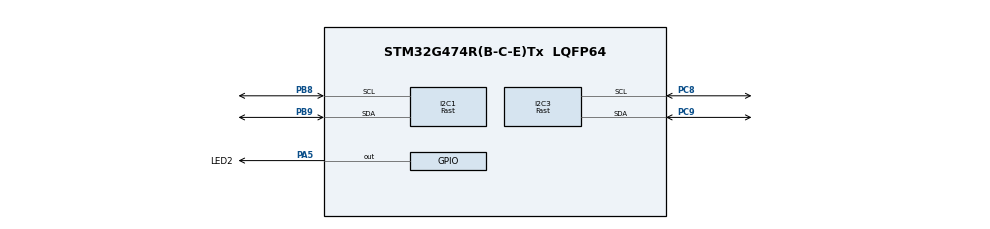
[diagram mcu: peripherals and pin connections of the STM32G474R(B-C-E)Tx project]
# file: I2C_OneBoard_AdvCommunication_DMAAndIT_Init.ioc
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Dma.I2C3_RX.1.Direction=DMA_PERIPH_TO_MEMORY
Dma.I2C3_RX.1.EventEnable=DISABLE
Dma.I2C3_RX.1.Instance=DMA1_Channel3
Dma.I2C3_RX.1.MemDataAlignment=DMA_MDATAALIGN_BYTE
Dma.I2C3_RX.1.MemInc=DMA_MINC_ENABLE
Dma.I2C3_RX.1.Mode=DMA_NORMAL
Dma.I2C3_RX.1.PeriphDataAlignment=DMA_PDATAALIGN_BYTE
Dma.I2C3_RX.1.PeriphInc=DMA_PINC_DISABLE
Dma.I2C3_RX.1.Polarity=HAL_DMAMUX_REQ_GEN_RISING
Dma.I2C3_RX.1.Priority=DMA_PRIORITY_HIGH
Dma.I2C3_RX.1.RequestNumber=1
Dma.I2C3_RX.1.SignalID=HAL_DMAMUX1_REQ_GEN_EXTI4
Dma.I2C3_RX.1.SyncEnable=DISABLE
Dma.I2C3_RX.1.SyncPolarity=HAL_DMAMUX_SYNC_NO_EVENT
Dma.I2C3_RX.1.SyncRequestNumber=1
Dma.I2C3_RX.1.SyncSignalID=HAL_DMAMUX1_SYNC_EXTI4
Dma.I2C3_TX.0.Direction=DMA_MEMORY_TO_PERIPH
Dma.I2C3_TX.0.EventEnable=DISABLE
Dma.I2C3_TX.0.Instance=DMA1_Channel2
Dma.I2C3_TX.0.MemDataAlignment=DMA_MDATAALIGN_BYTE
Dma.I2C3_TX.0.MemInc=DMA_MINC_ENABLE
Dma.I2C3_TX.0.Mode=DMA_NORMAL
Dma.I2C3_TX.0.PeriphDataAlignment=DMA_PDATAALIGN_BYTE
Dma.I2C3_TX.0.PeriphInc=DMA_PINC_DISABLE
Dma.I2C3_TX.0.Polarity=HAL_DMAMUX_REQ_GEN_RISING
Dma.I2C3_TX.0.Priority=DMA_PRIORITY_HIGH
Dma.I2C3_TX.0.RequestNumber=1
Dma.I2C3_TX.0.SignalID=HAL_DMAMUX1_REQ_GEN_EXTI4
Dma.I2C3_TX.0.SyncEnable=DISABLE
Dma.I2C3_TX.0.SyncPolarity=HAL_DMAMUX_SYNC_NO_EVENT
Dma.I2C3_TX.0.SyncRequestNumber=1
Dma.I2C3_TX.0.SyncSignalID=HAL_DMAMUX1_SYNC_EXTI4
Dma.Request0=I2C3_TX
Dma.Request1=I2C3_RX
I2C1.AddressingMode=I2C_ADDRESSINGMODE_7BIT
I2C1.Analog_Filter=I2C_ANALOGFILTER_ENABLE
I2C1.CustomTiming=Enabled
I2C1.DualAddressMode=I2C_DUALADDRESS_DISABLE
I2C1.GeneralCallMode=I2C_GENERALCALL_DISABLE
I2C1.I2C_Speed_Mode=I2C_Fast
I2C1.NoStretchMode=I2C_NOSTRETCH_DISABLE
I2C1.OwnAddress=0x5a
I2C1.Speed=400
I2C1.Timing=0x00000102
I2C3.AddressingMode=I2C_ADDRESSINGMODE_7BIT
I2C3.Analog_Filter=I2C_ANALOGFILTER_ENABLE
I2C3.CustomTiming=Enabled
I2C3.DualAddressMode=I2C_DUALADDRESS_DISABLE
I2C3.GeneralCallMode=I2C_GENERALCALL_DISABLE
I2C3.I2C_Speed_Mode=I2C_Fast
I2C3.NoStretchMode=I2C_NOSTRETCH_DISABLE
I2C3.OwnAddress=0
I2C3.Speed=400
I2C3.Timing=0x00000102
Mcu.Family=STM32G4
Mcu.Name=STM32G474R(B-C-E)Tx
Mcu.Package=LQFP64
NVIC.DMA1_Channel2_IRQn=true\:0\:0\:false\:false\:true\:false\:true\:true
NVIC.DMA1_Channel3_IRQn=true\:0\:0\:false\:false\:true\:false\:true\:true
NVIC.PriorityGroup=NVIC_PRIORITYGROUP_4
PA5.GPIO_Label=LED2
PA5.Signal=GPIO_Output
PB8-BOOT0.GPIO_FM8=SYSCFG_FASTMODEPLUS_PB8
PB8-BOOT0.GPIO_Pu=GPIO_PULLUP
PB8-BOOT0.GPIO_Speed=GPIO_SPEED_FREQ_HIGH
PB8-BOOT0.Mode=I2C
PB8-BOOT0.Signal=I2C1_SCL
PB9.GPIO_FM9=SYSCFG_FASTMODEPLUS_PB9
PB9.GPIO_Pu=GPIO_PULLUP
PB9.GPIO_Speed=GPIO_SPEED_FREQ_HIGH
PB9.Mode=I2C
PB9.Signal=I2C1_SDA
PC8.GPIO_Pu=GPIO_PULLUP
PC8.GPIO_Speed=GPIO_SPEED_FREQ_HIGH
PC8.Mode=I2C
PC8.Signal=I2C3_SCL
PC9.GPIO_Pu=GPIO_PULLUP
PC9.GPIO_Speed=GPIO_SPEED_FREQ_HIGH
PC9.Mode=I2C
PC9.Signal=I2C3_SDA
ProjectManager.HeapSize=0x200
ProjectManager.StackSize=0x400
ProjectManager.TargetToolchain=EWARM V8.32
RCC.ADC12Freq_Value=170000000
RCC.ADC345Freq_Value=170000000
RCC.AHBFreq_Value=170000000
RCC.APB1Freq_Value=170000000
RCC.APB1TimFreq_Value=170000000
RCC.APB2Freq_Value=170000000
RCC.APB2TimFreq_Value=170000000
RCC.CortexFreq_Value=170000000
RCC.EXTERNAL_CLOCK_VALUE=12288000
RCC.HCLKFreq_Value=170000000
RCC.HSE_VALUE=24000000
RCC.HSI48_VALUE=48000000
RCC.HSI_VALUE=16000000
RCC.LSE_VALUE=32768
RCC.PLLM=RCC_PLLM_DIV4
RCC.PLLN=85
RCC.SYSCLKFreq_VALUE=170000000
RCC.SYSCLKSource=RCC_SYSCLKSOURCE_PLLCLK
RCC.USBFreq_Value=170000000
RCC.VCOOutputFreq_Value=340000000
VP_SYS_VS_DBSignals.Mode=DisableDeadBatterySignals
board=custom

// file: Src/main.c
/* USER CODE BEGIN Header */
/**
  ******************************************************************************
  * @file    Examples_LL/I2C/I2C_OneBoard_AdvCommunication_DMAAndIT_Init/Src/main.c
  * @author  MCD Application Team
  * @brief   This example describes how to send/receive bytes over I2C IP using
  *          the STM32G4xx I2C LL API.
  *          Peripheral initialization done using LL unitary services functions.
  ******************************************************************************
  * @attention
  *
  * Copyright (c) 2019 STMicroelectronics.
  * All rights reserved.
  *
  * This software is licensed under terms that can be found in the LICENSE file
  * in the root directory of this software component.
  * If no LICENSE file comes with this software, it is provided AS-IS.
  *
  ******************************************************************************
  */
/* USER CODE END Header */
#include "main.h"

/* USER CODE BEGIN PD */
/**
  * @brief Timeout value
  */
#if (USE_TIMEOUT == 1)
#define DMA_SEND_TIMEOUT_TC_MS          5
#define I2C_SEND_TIMEOUT_TC_MS          2
#define I2C_SEND_TIMEOUT_STOP_MS        5
#endif /* USE_TIMEOUT */

/**
  * @brief I2C devices settings
  */
/* Timing register value is computed with the STM32CubeMX Tool,
  * Fast Mode @400kHz with I2CCLK = 170 MHz,
  * rise time = 100ns, fall time = 10ns
  * Timing Value = (uint32_t)0x00C0216C
  */
#define I2C_TIMING                      0x00C0216C

#define SLAVE_CHIP_NAME                 0
#define SLAVE_CHIP_REVISION             1

/* USER CODE END PD */

/* USER CODE BEGIN PV */
#if (USE_TIMEOUT == 1)
uint32_t Timeout                        = 0; /* Variable used for Timeout management */
#endif /* USE_TIMEOUT */
__IO uint8_t  ubButtonPress             = 0;

/**
  * @brief Variables related to Master process
  */
/* aCommandCode declaration array    */
/* [CommandCode][RequestSlaveAnswer] */
/* {CODE, YES/NO}                    */
const char  *aCommandCode[4][4]         =
{
  {"CHIP NAME", "YES"},
  {"CHIP REVISION", "YES"},
  {"LOW POWER", "NO"},
  {"WAKE UP", "NO"}
};

uint32_t     *pMasterTransmitBuffer     = (uint32_t *)(&aCommandCode[0][0]);
uint8_t       ubMasterNbCommandCode     = sizeof(aCommandCode[0][0]);
uint8_t       aMasterReceiveBuffer[0xF] = {0};
__IO uint8_t  ubMasterNbDataToReceive   = sizeof(aMasterReceiveBuffer);
__IO uint8_t  ubMasterNbDataToTransmit  = 0;
uint8_t       ubMasterCommandIndex      = 0;
__IO uint8_t  ubMasterReceiveIndex      = 0;
__IO uint8_t  ubMasterTransferComplete  = 0;

/**
  * @brief Variables related to Slave process
  */
const char   *aSlaveInfo[]              =
{
  "STM32G474RET6",
  "1.2.3"
};

uint8_t       aSlaveReceiveBuffer[0xF]  = {0};
uint8_t      *pSlaveTransmitBuffer      = 0;
uint8_t       ubSlaveInfoIndex          = 0xFF;
__IO uint8_t  ubSlaveReceiveIndex       = 0;
__IO uint8_t  ubSlaveReceiveComplete    = 0;

/* USER CODE END PV */

void SystemClock_Config(void);
static void MX_GPIO_Init(void);
static void MX_DMA_Init(void);
static void MX_I2C1_Init(void);
static void MX_I2C3_Init(void);
/* USER CODE BEGIN PFP */
uint8_t  Buffercmp8(uint8_t *pBuffer1, uint8_t *pBuffer2, uint8_t BufferLength);
void     FlushBuffer8(uint8_t *pBuffer1);
void     LED_On(void);
void     LED_Off(void);
void     LED_Blinking(uint32_t Period);
void     UserButton_Init(void);
void     WaitForUserButtonPress(void);
void     Handle_I2C_Master_Transmit(void);
void     Handle_I2C_Master_TransmitReceive(void);
#if defined(__GNUC__)
extern void initialise_monitor_handles(void); /*rtt*/
#endif

/* USER CODE END PFP */

int main(void)
{

  /* MCU Configuration--------------------------------------------------------*/

  /* Reset of all peripherals, Initializes the Flash interface and the Systick. */
  LL_APB2_GRP1_EnableClock(LL_APB2_GRP1_PERIPH_SYSCFG);
  LL_APB1_GRP1_EnableClock(LL_APB1_GRP1_PERIPH_PWR);

  /* System interrupt init*/
  NVIC_SetPriorityGrouping(NVIC_PRIORITYGROUP_4);

  /** Disable the internal Pull-Up in Dead Battery pins of UCPD peripheral
  */
  LL_PWR_DisableUCPDDeadBattery();

  /* Configure the system clock */
  SystemClock_Config();

  /* Initialize all configured peripherals */
  MX_GPIO_Init();
  MX_DMA_Init();
  MX_I2C1_Init();
  MX_I2C3_Init();
  /* USER CODE BEGIN 2 */
#if defined(__GNUC__)
  initialise_monitor_handles(); /*rtt*/
#endif
  UserButton_Init();
  /* Set LED2 Off */
  LED_Off();

  /* USER CODE END 2 */

  /* Infinite loop */
  while (1)
  {

    /* USER CODE BEGIN 3 */

    /* Wait for User push-button press to start transfer */
    WaitForUserButtonPress();

    /* Clear User push-button related variable */
    ubButtonPress = 0;

    if (strncmp(aCommandCode[ubMasterCommandIndex][1], "NO", 2) == 0)
    {
      /* Handle I2C3 events (Master Transmit only) */
      Handle_I2C_Master_Transmit();
    }
    else
    {
      /* Handle I2C3 events (Master Transmit then Receive) */
      Handle_I2C_Master_TransmitReceive();
    }

    /* Prepare Index to send next command code */
    ubMasterCommandIndex++;
    if (ubMasterCommandIndex >= ubMasterNbCommandCode)
    {
      ubMasterCommandIndex = 0;
    }
  }
  /* USER CODE END 3 */
}

void SystemClock_Config(void)
{
  LL_FLASH_SetLatency(LL_FLASH_LATENCY_4);
  while(LL_FLASH_GetLatency() != LL_FLASH_LATENCY_4)
  {
  }
  LL_PWR_EnableRange1BoostMode();
  LL_RCC_HSI_Enable();
   /* Wait till HSI is ready */
  while(LL_RCC_HSI_IsReady() != 1)
  {
  }

  LL_RCC_HSI_SetCalibTrimming(64);
  LL_RCC_PLL_ConfigDomain_SYS(LL_RCC_PLLSOURCE_HSI, LL_RCC_PLLM_DIV_4, 85, LL_RCC_PLLR_DIV_2);
  LL_RCC_PLL_EnableDomain_SYS();
  LL_RCC_PLL_Enable();
   /* Wait till PLL is ready */
  while(LL_RCC_PLL_IsReady() != 1)
  {
  }

  LL_RCC_SetSysClkSource(LL_RCC_SYS_CLKSOURCE_PLL);
  LL_RCC_SetAHBPrescaler(LL_RCC_SYSCLK_DIV_2);
   /* Wait till System clock is ready */
  while(LL_RCC_GetSysClkSource() != LL_RCC_SYS_CLKSOURCE_STATUS_PLL)
  {
  }

  /* Insure 1us transition state at intermediate medium speed clock*/
  for (__IO uint32_t i = (170 >> 1); i !=0; i--);

  /* Set AHB prescaler*/
  LL_RCC_SetAHBPrescaler(LL_RCC_SYSCLK_DIV_1);
  LL_RCC_SetAPB1Prescaler(LL_RCC_APB1_DIV_1);
  LL_RCC_SetAPB2Prescaler(LL_RCC_APB2_DIV_1);

  LL_Init1msTick(170000000);

  LL_SetSystemCoreClock(170000000);
}

static void MX_I2C1_Init(void)
{

  LL_I2C_InitTypeDef I2C_InitStruct = {0};

  LL_GPIO_InitTypeDef GPIO_InitStruct = {0};

  LL_RCC_SetI2CClockSource(LL_RCC_I2C1_CLKSOURCE_PCLK1);

  LL_AHB2_GRP1_EnableClock(LL_AHB2_GRP1_PERIPH_GPIOB);
  /**I2C1 GPIO Configuration
  PB8-BOOT0   ------> I2C1_SCL
  PB9   ------> I2C1_SDA
  */
  GPIO_InitStruct.Pin = LL_GPIO_PIN_8;
  GPIO_InitStruct.Mode = LL_GPIO_MODE_ALTERNATE;
  GPIO_InitStruct.Speed = LL_GPIO_SPEED_FREQ_HIGH;
  GPIO_InitStruct.OutputType = LL_GPIO_OUTPUT_OPENDRAIN;
  GPIO_InitStruct.Pull = LL_GPIO_PULL_UP;
  GPIO_InitStruct.Alternate = LL_GPIO_AF_4;
  LL_GPIO_Init(GPIOB, &GPIO_InitStruct);

  GPIO_InitStruct.Pin = LL_GPIO_PIN_9;
  GPIO_InitStruct.Mode = LL_GPIO_MODE_ALTERNATE;
  GPIO_InitStruct.Speed = LL_GPIO_SPEED_FREQ_HIGH;
  GPIO_InitStruct.OutputType = LL_GPIO_OUTPUT_OPENDRAIN;
  GPIO_InitStruct.Pull = LL_GPIO_PULL_UP;
  GPIO_InitStruct.Alternate = LL_GPIO_AF_4;
  LL_GPIO_Init(GPIOB, &GPIO_InitStruct);

  LL_SYSCFG_EnableFastModePlus(LL_SYSCFG_I2C_FASTMODEPLUS_PB8);

  LL_SYSCFG_EnableFastModePlus(LL_SYSCFG_I2C_FASTMODEPLUS_PB9);

  /* Peripheral clock enable */
  LL_APB1_GRP1_EnableClock(LL_APB1_GRP1_PERIPH_I2C1);

  /* USER CODE BEGIN I2C1_Init 1 */
  /* Configure Event IT:
   *  - Set priority for I2C1_EV_IRQn
   *  - Enable I2C1_EV_IRQn
   */
  NVIC_SetPriority(I2C1_EV_IRQn, 0xF);
  NVIC_EnableIRQ(I2C1_EV_IRQn);

  /* Configure Error IT:
   *  - Set priority for I2C1_ER_IRQn
   *  - Enable I2C1_ER_IRQn
   */
  NVIC_SetPriority(I2C1_ER_IRQn, 0xF);
  NVIC_EnableIRQ(I2C1_ER_IRQn);
  /* USER CODE END I2C1_Init 1 */

  /** I2C Initialization
  */
  I2C_InitStruct.PeripheralMode = LL_I2C_MODE_I2C;
  I2C_InitStruct.Timing = 0x00000102;
  I2C_InitStruct.AnalogFilter = LL_I2C_ANALOGFILTER_ENABLE;
  I2C_InitStruct.DigitalFilter = 0;
  I2C_InitStruct.OwnAddress1 = 180;
  I2C_InitStruct.TypeAcknowledge = LL_I2C_ACK;
  I2C_InitStruct.OwnAddrSize = LL_I2C_OWNADDRESS1_7BIT;
  LL_I2C_Init(I2C1, &I2C_InitStruct);
  LL_I2C_EnableAutoEndMode(I2C1);
  LL_I2C_SetOwnAddress2(I2C1, 0, LL_I2C_OWNADDRESS2_NOMASK);
  LL_I2C_DisableOwnAddress2(I2C1);
  LL_I2C_DisableGeneralCall(I2C1);
  LL_I2C_EnableClockStretching(I2C1);
  /* USER CODE BEGIN I2C1_Init 2 */
  LL_I2C_EnableIT_ADDR(I2C1);
  LL_I2C_EnableIT_NACK(I2C1);
  LL_I2C_EnableIT_ERR(I2C1);
  LL_I2C_EnableIT_STOP(I2C1);
  /* USER CODE END I2C1_Init 2 */

}

static void MX_I2C3_Init(void)
{

  LL_I2C_InitTypeDef I2C_InitStruct = {0};

  LL_GPIO_InitTypeDef GPIO_InitStruct = {0};

  LL_RCC_SetI2CClockSource(LL_RCC_I2C3_CLKSOURCE_PCLK1);

  LL_AHB2_GRP1_EnableClock(LL_AHB2_GRP1_PERIPH_GPIOC);
  /**I2C3 GPIO Configuration
  PC8   ------> I2C3_SCL
  PC9   ------> I2C3_SDA
  */
  GPIO_InitStruct.Pin = LL_GPIO_PIN_8;
  GPIO_InitStruct.Mode = LL_GPIO_MODE_ALTERNATE;
  GPIO_InitStruct.Speed = LL_GPIO_SPEED_FREQ_HIGH;
  GPIO_InitStruct.OutputType = LL_GPIO_OUTPUT_OPENDRAIN;
  GPIO_InitStruct.Pull = LL_GPIO_PULL_UP;
  GPIO_InitStruct.Alternate = LL_GPIO_AF_8;
  LL_GPIO_Init(GPIOC, &GPIO_InitStruct);

  GPIO_InitStruct.Pin = LL_GPIO_PIN_9;
  GPIO_InitStruct.Mode = LL_GPIO_MODE_ALTERNATE;
  GPIO_InitStruct.Speed = LL_GPIO_SPEED_FREQ_HIGH;
  GPIO_InitStruct.OutputType = LL_GPIO_OUTPUT_OPENDRAIN;
  GPIO_InitStruct.Pull = LL_GPIO_PULL_UP;
  GPIO_InitStruct.Alternate = LL_GPIO_AF_8;
  LL_GPIO_Init(GPIOC, &GPIO_InitStruct);

  /* Peripheral clock enable */
  LL_APB1_GRP1_EnableClock(LL_APB1_GRP1_PERIPH_I2C3);

  /* I2C3 DMA Init */

  /* I2C3_TX Init */
  LL_DMA_SetPeriphRequest(DMA1, LL_DMA_CHANNEL_2, LL_DMAMUX_REQ_I2C3_TX);

  LL_DMA_SetDataTransferDirection(DMA1, LL_DMA_CHANNEL_2, LL_DMA_DIRECTION_MEMORY_TO_PERIPH);

  LL_DMA_SetChannelPriorityLevel(DMA1, LL_DMA_CHANNEL_2, LL_DMA_PRIORITY_HIGH);

  LL_DMA_SetMode(DMA1, LL_DMA_CHANNEL_2, LL_DMA_MODE_NORMAL);

  LL_DMA_SetPeriphIncMode(DMA1, LL_DMA_CHANNEL_2, LL_DMA_PERIPH_NOINCREMENT);

  LL_DMA_SetMemoryIncMode(DMA1, LL_DMA_CHANNEL_2, LL_DMA_MEMORY_INCREMENT);

  LL_DMA_SetPeriphSize(DMA1, LL_DMA_CHANNEL_2, LL_DMA_PDATAALIGN_BYTE);

  LL_DMA_SetMemorySize(DMA1, LL_DMA_CHANNEL_2, LL_DMA_MDATAALIGN_BYTE);

  /* I2C3_RX Init */
  LL_DMA_SetPeriphRequest(DMA1, LL_DMA_CHANNEL_3, LL_DMAMUX_REQ_I2C3_RX);

  LL_DMA_SetDataTransferDirection(DMA1, LL_DMA_CHANNEL_3, LL_DMA_DIRECTION_PERIPH_TO_MEMORY);

  LL_DMA_SetChannelPriorityLevel(DMA1, LL_DMA_CHANNEL_3, LL_DMA_PRIORITY_HIGH);

  LL_DMA_SetMode(DMA1, LL_DMA_CHANNEL_3, LL_DMA_MODE_NORMAL);

  LL_DMA_SetPeriphIncMode(DMA1, LL_DMA_CHANNEL_3, LL_DMA_PERIPH_NOINCREMENT);

  LL_DMA_SetMemoryIncMode(DMA1, LL_DMA_CHANNEL_3, LL_DMA_MEMORY_INCREMENT);

  LL_DMA_SetPeriphSize(DMA1, LL_DMA_CHANNEL_3, LL_DMA_PDATAALIGN_BYTE);

  LL_DMA_SetMemorySize(DMA1, LL_DMA_CHANNEL_3, LL_DMA_MDATAALIGN_BYTE);

  /* USER CODE BEGIN I2C3_Init 1 */
  LL_DMA_ConfigAddresses(DMA1, LL_DMA_CHANNEL_2, (uint32_t)(*pMasterTransmitBuffer), (uint32_t)LL_I2C_DMA_GetRegAddr(I2C3, LL_I2C_DMA_REG_DATA_TRANSMIT), LL_DMA_GetDataTransferDirection(DMA1, LL_DMA_CHANNEL_2));
  LL_DMA_ConfigAddresses(DMA1, LL_DMA_CHANNEL_3, (uint32_t)LL_I2C_DMA_GetRegAddr(I2C3, LL_I2C_DMA_REG_DATA_RECEIVE), (uint32_t) & (aMasterReceiveBuffer), LL_DMA_GetDataTransferDirection(DMA1, LL_DMA_CHANNEL_3));
  LL_DMA_EnableIT_TC(DMA1, LL_DMA_CHANNEL_2);
  LL_DMA_EnableIT_TE(DMA1, LL_DMA_CHANNEL_2);
  LL_DMA_EnableIT_TC(DMA1, LL_DMA_CHANNEL_3);
  LL_DMA_EnableIT_TE(DMA1, LL_DMA_CHANNEL_3);

  /* USER CODE END I2C3_Init 1 */

  /** I2C Initialization
  */
  I2C_InitStruct.PeripheralMode = LL_I2C_MODE_I2C;
  I2C_InitStruct.Timing = 0x00000102;
  I2C_InitStruct.AnalogFilter = LL_I2C_ANALOGFILTER_ENABLE;
  I2C_InitStruct.DigitalFilter = 0;
  I2C_InitStruct.OwnAddress1 = 0;
  I2C_InitStruct.TypeAcknowledge = LL_I2C_ACK;
  I2C_InitStruct.OwnAddrSize = LL_I2C_OWNADDRESS1_7BIT;
  LL_I2C_Init(I2C3, &I2C_InitStruct);
  LL_I2C_EnableAutoEndMode(I2C3);
  LL_I2C_SetOwnAddress2(I2C3, 0, LL_I2C_OWNADDRESS2_NOMASK);
  LL_I2C_DisableOwnAddress2(I2C3);
  LL_I2C_DisableGeneralCall(I2C3);
  LL_I2C_EnableClockStretching(I2C3);
  /* USER CODE BEGIN I2C3_Init 2 */
  LL_I2C_EnableDMAReq_RX(I2C3);
  LL_I2C_EnableDMAReq_TX(I2C3);
  LL_I2C_Enable(I2C3);
  /* USER CODE END I2C3_Init 2 */

}

static void MX_DMA_Init(void)
{

  /* Init with LL driver */
  /* DMA controller clock enable */
  LL_AHB1_GRP1_EnableClock(LL_AHB1_GRP1_PERIPH_DMAMUX1);
  LL_AHB1_GRP1_EnableClock(LL_AHB1_GRP1_PERIPH_DMA1);

  /* DMA interrupt init */
  /* DMA1_Channel2_IRQn interrupt configuration */
  NVIC_SetPriority(DMA1_Channel2_IRQn, NVIC_EncodePriority(NVIC_GetPriorityGrouping(),0, 0));
  NVIC_EnableIRQ(DMA1_Channel2_IRQn);
  /* DMA1_Channel3_IRQn interrupt configuration */
  NVIC_SetPriority(DMA1_Channel3_IRQn, NVIC_EncodePriority(NVIC_GetPriorityGrouping(),0, 0));
  NVIC_EnableIRQ(DMA1_Channel3_IRQn);

}

static void MX_GPIO_Init(void)
{
  LL_GPIO_InitTypeDef GPIO_InitStruct = {0};

  /* GPIO Ports Clock Enable */
  LL_AHB2_GRP1_EnableClock(LL_AHB2_GRP1_PERIPH_GPIOA);
  LL_AHB2_GRP1_EnableClock(LL_AHB2_GRP1_PERIPH_GPIOC);
  LL_AHB2_GRP1_EnableClock(LL_AHB2_GRP1_PERIPH_GPIOB);

  /**/
  LL_GPIO_ResetOutputPin(LED2_GPIO_Port, LED2_Pin);

  /**/
  GPIO_InitStruct.Pin = LED2_Pin;
  GPIO_InitStruct.Mode = LL_GPIO_MODE_OUTPUT;
  GPIO_InitStruct.Speed = LL_GPIO_SPEED_FREQ_LOW;
  GPIO_InitStruct.OutputType = LL_GPIO_OUTPUT_PUSHPULL;
  GPIO_InitStruct.Pull = LL_GPIO_PULL_NO;
  LL_GPIO_Init(LED2_GPIO_Port, &GPIO_InitStruct);

}

/* USER CODE BEGIN 4 */

/**
  * @brief  Flush 8-bit buffer.
  * @param  pBuffer1: pointer to the buffer to be flushed.
  * @retval None
  */
void FlushBuffer8(uint8_t *pBuffer1)
{
  uint8_t Index = 0;

  for (Index = 0; Index < sizeof(pBuffer1); Index++)
  {
    pBuffer1[Index] = 0;
  }
}

/**
  * @brief  Compares two 8-bit buffers and returns the comparison result.
  * @param  pBuffer1: pointer to the source buffer to be compared to.
  * @param  pBuffer2: pointer to the second source buffer to be compared to the first.
  * @param  BufferLength: buffer's length.
  * @retval 0: Comparison is OK (the two Buffers are identical)
  *         Value different from 0: Comparison is NOK (Buffers are different)
  */
uint8_t Buffercmp8(uint8_t *pBuffer1, uint8_t *pBuffer2, uint8_t BufferLength)
{
  while (BufferLength--)
  {
    if (*pBuffer1 != *pBuffer2)
    {
      return 1;
    }

    pBuffer1++;
    pBuffer2++;
  }

  return 0;
}
/**
  * @brief  Turn-on LED2.
  * @param  None
  * @retval None
  */
void LED_On(void)
{
  /* Turn LED2 on */
  LL_GPIO_SetOutputPin(LED2_GPIO_Port, LED2_Pin);
}

/**
  * @brief  Turn-off LED2.
  * @param  None
  * @retval None
  */
void LED_Off(void)
{
  /* Turn LED2 off */
  LL_GPIO_ResetOutputPin(LED2_GPIO_Port, LED2_Pin);
}

/**
  * @brief  Set LED2 to Blinking mode for an infinite loop (toggle period based on value provided as input parameter).
  * @param  Period : Period of time (in ms) between each toggling of LED
  *   This parameter can be user defined values. Pre-defined values used in that example are :
  *     @arg LED_BLINK_FAST : Fast Blinking
  *     @arg LED_BLINK_SLOW : Slow Blinking
  *     @arg LED_BLINK_ERROR : Error specific Blinking
  * @retval None
  */
void LED_Blinking(uint32_t Period)
{
  /* Turn LED2 on */
  LL_GPIO_SetOutputPin(LED2_GPIO_Port, LED2_Pin);

  /* Toggle IO in an infinite loop */
  while (1)
  {
    LL_GPIO_TogglePin(LED2_GPIO_Port, LED2_Pin);
    LL_mDelay(Period);
  }
}

/**
  * @brief  Configures User push-button in GPIO or EXTI Line Mode.
  * @param  None
  * @retval None
  */
void UserButton_Init(void)
{
  /* Enable the BUTTON Clock */
  USER_BUTTON_GPIO_CLK_ENABLE();

  /* Configure GPIO for BUTTON */
  LL_GPIO_SetPinMode(USER_BUTTON_GPIO_PORT, USER_BUTTON_PIN, LL_GPIO_MODE_INPUT);
  LL_GPIO_SetPinPull(USER_BUTTON_GPIO_PORT, USER_BUTTON_PIN, LL_GPIO_PULL_NO);

  /* Connect External Line to the GPIO*/
  USER_BUTTON_SYSCFG_SET_EXTI();

  /* Enable a rising trigger External line 13 Interrupt */
  USER_BUTTON_EXTI_LINE_ENABLE();
  USER_BUTTON_EXTI_FALLING_TRIG_ENABLE();

  /* Configure NVIC for USER_BUTTON_EXTI_IRQn */
  NVIC_SetPriority(USER_BUTTON_EXTI_IRQn, 3);
  NVIC_EnableIRQ(USER_BUTTON_EXTI_IRQn);
}
/**
  * @brief  Wait for User push-button press to start transfer.
  * @param  None
  * @retval None
  */
/*  */
void WaitForUserButtonPress(void)
{
  while (ubButtonPress == 0)
  {
    LL_GPIO_TogglePin(LED2_GPIO_Port, LED2_Pin);
    LL_mDelay(LED_BLINK_FAST);
  }
  /* Turn LED2 off */
  LL_GPIO_ResetOutputPin(LED2_GPIO_Port, LED2_Pin);
}

/**
  * @brief  This Function handle Master events to perform a transmission process
  * @note  This function is composed in different steps :
  *        -1- Configure DMA parameters for Command Code transfer.
  *        -2- Enable DMA transfer.
  *        -3- Initiate a Start condition to the Slave device.
  *        -4- Loop until end of DMA transfer completed (DMA TC raised).
  *        -5- Loop until end of master transfer completed (STOP flag raised).
  *        -6- Clear pending flags, Data Command Code are checking into Slave process.
  * @param  None
  * @retval None
  */
void Handle_I2C_Master_Transmit(void)
{
  /* (1) Configure DMA parameters for Command Code transfer *******************/
  pMasterTransmitBuffer    = (uint32_t *)(&aCommandCode[ubMasterCommandIndex][0]);
  ubMasterNbDataToTransmit = strlen((char *)pMasterTransmitBuffer[0]);

  LL_DMA_SetMemoryAddress(DMA1, LL_DMA_CHANNEL_2, (uint32_t)(*pMasterTransmitBuffer));
  LL_DMA_SetDataLength(DMA1, LL_DMA_CHANNEL_2, ubMasterNbDataToTransmit);

  /* (2) Enable DMA transfer **************************************************/
  LL_DMA_EnableChannel(DMA1, LL_DMA_CHANNEL_2);
  /* (3) Initiate a Start condition to the Slave device ***********************/

  /* Master Generate Start condition for a write request:
   *  - to the Slave with a 7-Bit SLAVE_OWN_ADDRESS
   *  - with a auto stop condition generation when transmit all bytes
   *  - No specific answer is needed from Slave Device, configure auto-stop condition
   */
  LL_I2C_HandleTransfer(I2C3, SLAVE_OWN_ADDRESS, LL_I2C_ADDRSLAVE_7BIT, ubMasterNbDataToTransmit, LL_I2C_MODE_AUTOEND, LL_I2C_GENERATE_START_WRITE);

  /* (4) Loop until end of transfer completed (DMA TC raised) *****************/

#if (USE_TIMEOUT == 1)
  Timeout = DMA_SEND_TIMEOUT_TC_MS;
#endif /* USE_TIMEOUT */

  /* Loop until DMA transfer complete event */
  while (!ubMasterTransferComplete)
  {
#if (USE_TIMEOUT == 1)
    /* Check Systick counter flag to decrement the time-out value */
    if (LL_SYSTICK_IsActiveCounterFlag())
    {
      if (Timeout-- == 0)
      {
        /* Time-out occurred. Set LED to blinking mode */
        LED_Blinking(LED_BLINK_SLOW);
      }
    }
#endif /* USE_TIMEOUT */
  }

  /* (5) Loop until end of master process completed (STOP flag raised) ********/
#if (USE_TIMEOUT == 1)
  Timeout = I2C_SEND_TIMEOUT_STOP_MS;
#endif /* USE_TIMEOUT */

  /* Loop until STOP flag is raised  */
  while (!LL_I2C_IsActiveFlag_STOP(I2C3))
  {
#if (USE_TIMEOUT == 1)
    /* Check Systick counter flag to decrement the time-out value */
    if (LL_SYSTICK_IsActiveCounterFlag())
    {
      if (Timeout-- == 0)
      {
        /* Time-out occurred. Set LED2 to blinking mode */
        LED_Blinking(LED_BLINK_SLOW);
      }
    }
#endif /* USE_TIMEOUT */
  }

  /* (6) Clear pending flags, Data Command Code are checking into Slave process */
  /* End of Master Process */
  LL_DMA_DisableChannel(DMA1, LL_DMA_CHANNEL_2);
  LL_I2C_ClearFlag_STOP(I2C3);

  /* Display through external Terminal IO the Slave Answer received */
  printf("%s : %s\n\r", (char *)(aCommandCode[ubMasterCommandIndex][0]), (char *)aMasterReceiveBuffer);

  /* Turn LED2 On */
  /* Master sequence completed successfully*/
  LED_On();
  /* Keep LED2 On, 500 MilliSeconds */
  LL_mDelay(500);
  LED_Off();

  /* Clear and Reset process variables and arrays */
  ubMasterTransferComplete = 0;
  ubMasterNbDataToTransmit = 0;
  ubMasterReceiveIndex     = 0;
  FlushBuffer8(aMasterReceiveBuffer);
}

/**
  * @brief  This Function handle Master events to perform a transmission then a reception process
  * @note   This function is composed in different steps :
  *         -1- Configure DMA parameters for Command Code transfer.
  *         -2- Enable DMA transfer.
  *         -3- Initiate a Start condition to the Slave device.
  *         -4- Loop until end of DMA transfer completed (DMA TC raised).
  *         -5- Loop until end of master transfer completed (TC flag raised).
  *         -6- Configure DMA to receive data from slave.
  *         -7- Initiate a ReStart condition to the Slave device.
  *         -8- Loop until end of master process completed (STOP flag raised).
  *         -9- Clear pending flags, Data Command Code are checking into Slave process.
  * @param  None
  * @retval None
  */
void Handle_I2C_Master_TransmitReceive(void)
{
  /* (1) Configure DMA parameters for Command Code transfer *******************/
  pMasterTransmitBuffer    = (uint32_t *)(&aCommandCode[ubMasterCommandIndex][0]);
  ubMasterNbDataToTransmit = strlen((char *)pMasterTransmitBuffer[0]);

  LL_DMA_SetMemoryAddress(DMA1, LL_DMA_CHANNEL_2, (uint32_t)(*pMasterTransmitBuffer));
  LL_DMA_SetDataLength(DMA1, LL_DMA_CHANNEL_2, ubMasterNbDataToTransmit);

  /* (2) Enable DMA transfer **************************************************/
  LL_DMA_EnableChannel(DMA1, LL_DMA_CHANNEL_2);
  /* (3) Initiate a Start condition to the Slave device ***********************/

  /* Master Generate Start condition for a write request:
   *  - to the Slave with a 7-Bit SLAVE_OWN_ADDRESS
   *  - with a no stop condition generation when transmit all bytes
   *  - A specific answer is needed from Slave Device, configure no-stop condition
   */
  LL_I2C_HandleTransfer(I2C3, SLAVE_OWN_ADDRESS, LL_I2C_ADDRSLAVE_7BIT, ubMasterNbDataToTransmit, LL_I2C_MODE_SOFTEND, LL_I2C_GENERATE_START_WRITE);

  /* (4) Loop until end of transfer completed (DMA TC raised) *****************/

#if (USE_TIMEOUT == 1)
  Timeout = DMA_SEND_TIMEOUT_TC_MS;
#endif /* USE_TIMEOUT */

  /* Loop until DMA transfer complete event */
  while (!ubMasterTransferComplete)
  {
#if (USE_TIMEOUT == 1)
    /* Check Systick counter flag to decrement the time-out value */
    if (LL_SYSTICK_IsActiveCounterFlag())
    {
      if (Timeout-- == 0)
      {
        /* Time-out occurred. Set LED to blinking mode */
        LED_Blinking(LED_BLINK_SLOW);
      }
    }
#endif /* USE_TIMEOUT */
  }

  /* Reset ubMasterTransferComplete flag */
  ubMasterTransferComplete = 0;

  /* (5) Loop until end of master transfer completed (TC flag raised) *********/
  /* Wait Master Transfer completed */
#if (USE_TIMEOUT == 1)
  Timeout = I2C_SEND_TIMEOUT_TC_MS;
#endif /* USE_TIMEOUT */

  while (LL_I2C_IsActiveFlag_TC(I2C3) != 1)
  {
#if (USE_TIMEOUT == 1)
    /* Check Systick counter flag to decrement the time-out value */
    if (LL_SYSTICK_IsActiveCounterFlag())
    {
      if (Timeout-- == 0)
      {
        /* Time-out occurred. Set LED to blinking mode */
        LED_Blinking(LED_BLINK_SLOW);
      }
    }
#endif /* USE_TIMEOUT */
  }

  /* (6) Configure DMA to receive data from slave *****************************/
  LL_DMA_DisableChannel(DMA1, LL_DMA_CHANNEL_2);
  LL_DMA_SetDataLength(DMA1, LL_DMA_CHANNEL_3, ubMasterNbDataToReceive);
  LL_DMA_EnableChannel(DMA1, LL_DMA_CHANNEL_3);

  /* (7) Initiate a ReStart condition to the Slave device *********************/
  /* Master Generate Start condition for a write request:
   *    - to the Slave with a 7-Bit SLAVE_OWN_ADDRESS
   *    - with a auto stop condition generation when transmit all bytes
   */
  LL_I2C_HandleTransfer(I2C3, SLAVE_OWN_ADDRESS, LL_I2C_ADDRSLAVE_7BIT, ubMasterNbDataToReceive, LL_I2C_MODE_AUTOEND, LL_I2C_GENERATE_RESTART_7BIT_READ);

  /* (8) Loop until end of master process completed (STOP flag raised) ********/
#if (USE_TIMEOUT == 1)
  Timeout = I2C_SEND_TIMEOUT_STOP_MS;
#endif /* USE_TIMEOUT */

  /* Loop until STOP flag is raised  */
  while (!LL_I2C_IsActiveFlag_STOP(I2C3))
  {
#if (USE_TIMEOUT == 1)
    /* Check Systick counter flag to decrement the time-out value */
    if (LL_SYSTICK_IsActiveCounterFlag())
    {
      if (Timeout-- == 0)
      {
        /* Time-out occurred. Set LED2 to blinking mode */
        LED_Blinking(LED_BLINK_SLOW);
      }
    }
#endif /* USE_TIMEOUT */
  }

  /* (9) Clear pending flags, Data Command Code are checking into Slave process */
  /* End of Master Process */
  LL_DMA_DisableChannel(DMA1, LL_DMA_CHANNEL_3);
  LL_I2C_ClearFlag_STOP(I2C3);

  /* Display through external Terminal IO the Slave Answer received */
  printf("%s : %s\n\r", (char *)(aCommandCode[ubMasterCommandIndex][0]), (char *)aMasterReceiveBuffer);

  /* Turn LED2 On */
  /* Master sequence completed successfully*/
  LED_On();
  /* Keep LED2 On, 500 MilliSeconds */
  LL_mDelay(500);
  LED_Off();

  /* Clear and Reset process variables and arrays */
  ubMasterTransferComplete = 0;
  ubMasterNbDataToTransmit = 0;
  ubMasterReceiveIndex     = 0;
  FlushBuffer8(aMasterReceiveBuffer);
}
/******************************************************************************/
/*   IRQ HANDLER TREATMENT Functions                                          */
/******************************************************************************/
/**
  * @brief  Function to manage User push-button
  * @param  None
  * @retval None
  */
void UserButton_Callback(void)
{
  /* Update User push-button variable : to be checked in waiting loop in main program */
  ubButtonPress = 1;
}

/**
  * @brief  Function called from I2C IRQ Handler when TXIS flag is set
  *         Function is in charge of transmit a byte on I2C lines.
  * @param  None
  * @retval None
  */
void Slave_Ready_To_Transmit_Callback(void)
{
  /* Send the Byte requested by the Master */
  LL_I2C_TransmitData8(I2C1, (uint8_t)(*pSlaveTransmitBuffer++));
}

/**
  * @brief  Function called from I2C IRQ Handler when RXNE flag is set
  *         Function is in charge of retrieving received byte on I2C lines.
  * @param  None
  * @retval None
  */
void Slave_Reception_Callback(void)
{
  /* Read character in Receive Data register.
  RXNE flag is cleared by reading data in RXDR register */
  aSlaveReceiveBuffer[ubSlaveReceiveIndex++] = LL_I2C_ReceiveData8(I2C1);

  /* Check Command code */
  if (Buffercmp8((uint8_t *)aSlaveReceiveBuffer, (uint8_t *)(aCommandCode[0][0]), (ubSlaveReceiveIndex - 1)) == 0)
  {
    ubSlaveInfoIndex = SLAVE_CHIP_NAME;
    pSlaveTransmitBuffer = (uint8_t *)(aSlaveInfo[ubSlaveInfoIndex]);
  }
  else if (Buffercmp8((uint8_t *)aSlaveReceiveBuffer, (uint8_t *)(aCommandCode[1][0]), (ubSlaveReceiveIndex - 1)) == 0)
  {
    ubSlaveInfoIndex = SLAVE_CHIP_REVISION;
    pSlaveTransmitBuffer = (uint8_t *)(aSlaveInfo[ubSlaveInfoIndex]);
  }
}

/**
  * @brief  Function called from I2C IRQ Handler when STOP flag is set
  *         Function is in charge of checking data received,
  *         LED2 is On if data are correct.
  * @param  None
  * @retval None
  */
void Slave_Complete_Callback(void)
{
  /* Clear and Reset process variables and arrays */
  ubSlaveReceiveIndex       = 0;
  ubSlaveReceiveComplete    = 0;
  FlushBuffer8(aSlaveReceiveBuffer);
}

/**
  * @brief  DMA transfer complete callback
  * @note   This function is executed when the transfer complete interrupt
  *         is generated
  * @retval None
  */
void Transfer_Complete_Callback()
{
  /* DMA transfer completed */
  ubMasterTransferComplete = 1;
}

/**
  * @brief  DMA transfer error callback
  * @note   This function is executed when the transfer error interrupt
  *         is generated during DMA transfer
  * @retval None
  */
void Transfer_Error_Callback()
{
  /* Disable DMA1_Channel2_IRQn */
  NVIC_DisableIRQ(DMA1_Channel2_IRQn);

  /* Error detected during DMA transfer */
  LED_Blinking(LED_BLINK_ERROR);
}

/**
  * @brief  Function called in case of error detected in I2C IT Handler
  * @param  None
  * @retval None
  */
void Error_Callback(void)
{
  /* Disable I2C1_EV_IRQn */
  NVIC_DisableIRQ(I2C1_EV_IRQn);

  /* Disable I2C1_ER_IRQn */
  NVIC_DisableIRQ(I2C1_ER_IRQn);

  /* Unexpected event : Set LED2 to Blinking mode to indicate error occurs */
  LED_Blinking(LED_BLINK_ERROR);
}

/* USER CODE END 4 */

void Error_Handler(void)
{
}
